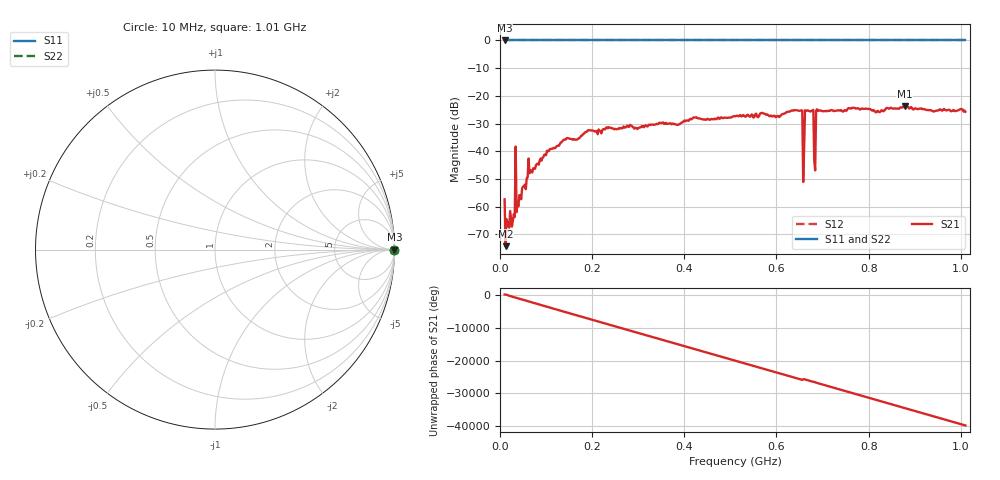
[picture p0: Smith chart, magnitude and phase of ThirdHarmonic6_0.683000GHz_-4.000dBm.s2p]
! 8/15/2025 10:46:29 PM
! C:\ANRITSUVNA\TEMP\TEMP.S2P
! CHANNEL.1
! TR.MEASUREMENT
! RAW.DATA
! RF.CORRECTION.OFF
! AVERAGING.OFF
! IF.BANDWIDTH: 5KHZ
! SWEEPTYPE:  FREQ.SWEEP(Linear)
! Reference Plane Port Info
! PORT:  PORT1  PORT2
! DISTANCE:  0  m  0  m
! TIME:  0  s  0  s
! PHASE.OFFSET:  0  deg.  0  deg.
! LOSS:  0  dB  0  dB
! REF.LOSS:  0  dB  0  dB
! REF.FREQ:  0  Hz  0  Hz
! Power Info
! POWER:  -20  dBm  -20  dBm
! EFF.POWER:  -20  dBm  -20  dBm
! SOURCE.ATTEN:  0  dB  0  dB
! TEST.ATTEN:  0  dB  0  dB
# GHZ S RI R 50.0
! FREQ.GHZ  S11RE  S11IM  S21RE  S21IM  S12RE  S12IM  S22RE  S22IM
!; PortSelection: Port_12
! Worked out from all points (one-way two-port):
!   501 points, 10 MHz to 1.01 GHz, reference 50 ohm
!   highest |S21| = -23.63 dB at 878 MHz (marker M1); lowest = -74.2 dB at 12 MHz (marker M2)
!   lowest |S11| = 0.0 dB at 10 MHz (marker M3)
!   |S11| at or under -10 dB: nowhere
!   |S22| runs from 0.0 to 0.0 dB; largest |S21 - S12| = 1.1
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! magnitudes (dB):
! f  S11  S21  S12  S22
! 10 MHz  0.0  -57.3  0.0  0.0
! 12 MHz  0.0  -74.2  0.0  0.0
! 16 MHz  0.0  -67.0  0.0  0.0
! 28 MHz  0.0  -65.0  0.0  0.0
! 30 MHz  0.0  -62.7  0.0  0.0
! 38 MHz  0.0  -58.7  0.0  0.0
! 40 MHz  0.0  -59.8  0.0  0.0
! 64 MHz  0.0  -47.9  0.0  0.0
! 178 MHz  0.0  -34.3  0.0  0.0
! 344 MHz  0.0  -30.0  0.0  0.0
! 510 MHz  0.0  -27.3  0.0  0.0
! 652 MHz  0.0  -25.3  0.0  0.0
! 656 MHz  0.0  -25.3  0.0  0.0
! 662 MHz  0.0  -25.2  0.0  0.0
! 666 MHz  0.0  -25.3  0.0  0.0
! 678 MHz  0.0  -25.4  0.0  0.0
! 680 MHz  0.0  -25.0  0.0  0.0
! 686 MHz  0.0  -25.4  0.0  0.0
! 690 MHz  0.0  -25.5  0.0  0.0
! 844 MHz  0.0  -24.6  0.0  0.0
! 878 MHz  0.0  -23.6  0.0  0.0
! 1.01 GHz  0.0  -25.7  0.0  0.0
